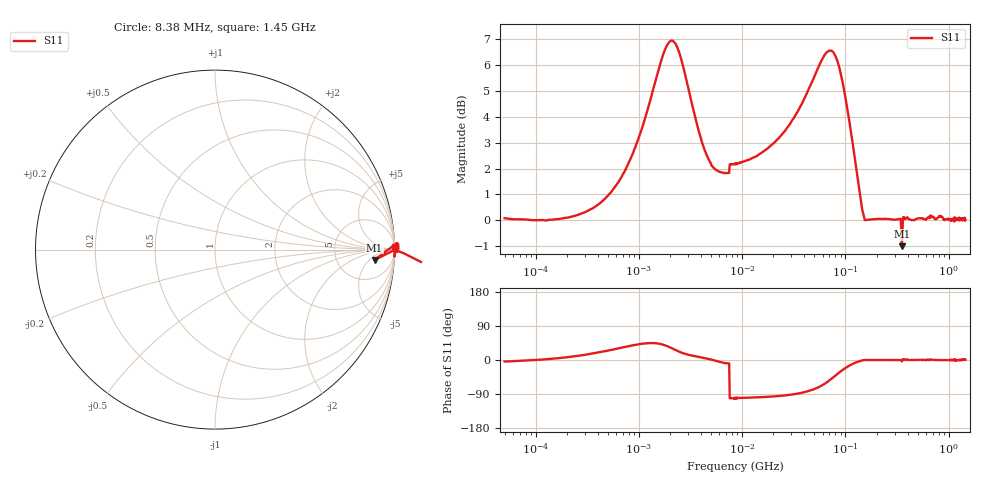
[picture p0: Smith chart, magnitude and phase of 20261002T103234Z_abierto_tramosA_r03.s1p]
! piloto_saltos / abierto_tramosA / r03
# HZ S RI R 50
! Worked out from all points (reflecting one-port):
!   501 points, 50 kHz to 1.45 GHz, reference 50 ohm
!   lowest |S11| = -1.0 dB at 352 MHz (marker M1), VSWR 17.35, Z = 660 - j369 ohm
!   phase of S11 starts at -4 deg and turns +5 deg over the sweep
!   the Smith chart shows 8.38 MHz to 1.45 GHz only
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50000  1.007 -0.0703
183000  1.003 0.106
373000  1.009 0.3288
658000  1.021 0.6303
1180000  1.154 1.117
1630000  1.504 1.355
1990000  1.845 1.228
2440000  1.959 0.8015
3070000  1.721 0.4025
4330000  1.36 0.1228
7300000  1.219 -0.1921
7750000  -0.2413 -1.259
8560000  -0.2563 -1.258
1.81e7  -0.1684 -1.373
3.16e7  -0.0112 -1.576
4.69e7  0.3398 -1.812
5.59e7  0.6612 -1.885
6.4e7  1.005 -1.842
7.39e7  1.4 -1.598
8.65e7  1.652 -1.098
9.82e7  1.626 -0.6736
1e8  1.61 -0.6209
1.18e8  1.378 -0.2436
1.36e8  1.148 -0.0686
1.63e8  1.002 0.00069
3.52e8  0.8891 -0.0576
4.06e8  1.006 -0.000558
1.45e9  1.003 0.0136
